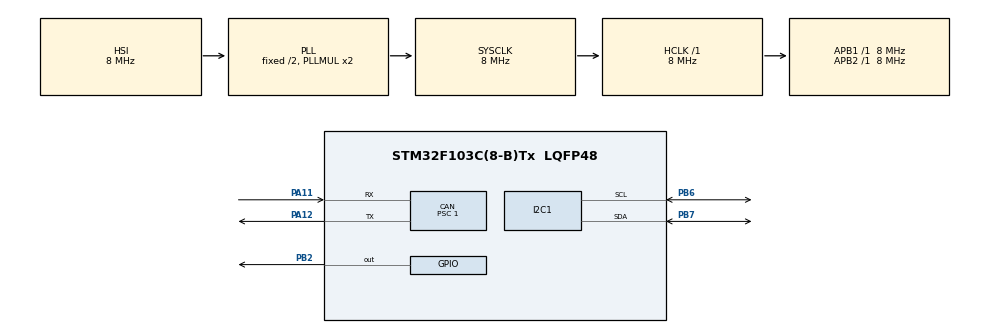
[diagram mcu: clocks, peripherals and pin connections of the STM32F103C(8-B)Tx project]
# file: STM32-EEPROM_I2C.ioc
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CAN.BS1=CAN_BS1_13TQ
CAN.BS2=CAN_BS2_2TQ
CAN.CalculateBaudRate=500000
CAN.CalculateTimeBit=2000
CAN.CalculateTimeQuantum=125.0
CAN.NART=ENABLE
CAN.Prescaler=1
CAN.SJW=CAN_SJW_1TQ
I2C1.AddressingMode=I2C_ADDRESSINGMODE_7BIT
Mcu.Family=STM32F1
Mcu.Name=STM32F103C(8-B)Tx
Mcu.Package=LQFP48
NVIC.PriorityGroup=NVIC_PRIORITYGROUP_4
NVIC.USB_LP_CAN1_RX0_IRQn=true\:0\:0\:false\:false\:true\:true\:true\:true
PA11.Mode=CAN_Activate
PA11.Signal=CAN_RX
PA12.Mode=CAN_Activate
PA12.Signal=CAN_TX
PA13.Mode=Serial_Wire
PA13.Signal=SYS_JTMS-SWDIO
PA14.Mode=Serial_Wire
PA14.Signal=SYS_JTCK-SWCLK
PB2.Signal=GPIO_Output
PB6.Mode=I2C
PB6.Signal=I2C1_SCL
PB7.Mode=I2C
PB7.Signal=I2C1_SDA
PD0-OSC_IN.Mode=HSE-External-Oscillator
PD0-OSC_IN.Signal=RCC_OSC_IN
PD1-OSC_OUT.Mode=HSE-External-Oscillator
PD1-OSC_OUT.Signal=RCC_OSC_OUT
ProjectManager.HeapSize=0x200
ProjectManager.StackSize=0x400
ProjectManager.TargetToolchain=STM32CubeIDE
RCC.AHBFreq_Value=8000000
RCC.APB1Freq_Value=8000000
RCC.APB1TimFreq_Value=8000000
RCC.APB2Freq_Value=8000000
RCC.APB2TimFreq_Value=8000000
RCC.HCLKFreq_Value=8000000
RCC.HSE_VALUE=16000000
RCC.SYSCLKFreq_VALUE=8000000
RCC.SYSCLKSource=RCC_SYSCLKSOURCE_PLLCLK
RCC.USBFreq_Value=8000000
board=custom

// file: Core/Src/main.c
/* USER CODE BEGIN Header */
/**
 ******************************************************************************
 * @file           : main.c
 * @brief          : Main program body
 ******************************************************************************
 * @attention
 *
 * Copyright (c) 2024 STMicroelectronics.
 * All rights reserved.
 *
 * This software is licensed under terms that can be found in the LICENSE file
 * in the root directory of this software component.
 * If no LICENSE file comes with this software, it is provided AS-IS.
 *
 ******************************************************************************
 */
/* USER CODE END Header */
#include "main.h"

/* USER CODE BEGIN Includes */
#include <string.h>
#include <stdlib.h>

/* USER CODE END Includes */

/* USER CODE BEGIN PTD */

typedef enum {
	RAD_TYPE_DRIVETRAIN,
	RAD_TYPE_ARM_BASE,
	RAD_TYPE_ARM_ELBOW,
	RAD_TYPE_ARM_WRIST,
	RAD_TYPE_ARM_GRIPPER,
} RAD_TYPE;

typedef struct __attribute__((packed)){
	uint8_t RAD_ID;
	RAD_TYPE RAD_TYPE;
	uint8_t HOME_POSITION;
	float P;
	float I;
	float D;
	uint32_t DRVCTRl;
	uint32_t CHOPCONF;
	uint32_t SMARTEN;
	uint32_t SGSCONF;
	uint32_t DRVCONF;
	uint16_t STEPPER_SPEED;
	uint16_t ODOM_INTERVAL;
} EEPROM_STRUCT;

/* USER CODE END PTD */

/* USER CODE BEGIN PD */

#define EEPROM_PAGE_TOTAL 32
#define EEPROM_PAGE_SIZE 16
#define DEVICE_IDENTIFIER 0b10100000
#define A2_PIN 0
#define A1_PIN 0

/* USER CODE END PD */

CAN_HandleTypeDef hcan;

I2C_HandleTypeDef hi2c1;

/* USER CODE BEGIN PV */
// CAN Tx
CAN_TxHeaderTypeDef TxHeader;
uint8_t TxData[8];
uint32_t TxMailbox;

// CAN Rx
CAN_FilterTypeDef canfilterconfig;
CAN_RxHeaderTypeDef RxHeader;
uint8_t RxData[8];

/* USER CODE END PV */

void SystemClock_Config(void);
static void MX_GPIO_Init(void);
static void MX_CAN_Init(void);
static void MX_I2C1_Init(void);

/* USER CODE BEGIN PFP */

static void READ_EEPROM(uint8_t* pData, uint32_t size, uint8_t eeprom_page_num);
static void WRITE_EEPROM(uint8_t* pData, uint32_t size, uint8_t eeprom_page_num);

/* USER CODE END PFP */

/* USER CODE BEGIN 0 */

void setupTxCAN()
{
    TxHeader.StdId = 0x321;
    TxHeader.ExtId = 0x01;
    TxHeader.RTR = CAN_RTR_DATA;
    TxHeader.IDE = CAN_ID_EXT;
    TxHeader.DLC = 8;
    TxHeader.TransmitGlobalTime = DISABLE;

    TxData[0] = 0xA0;
    TxData[1] = 0xA1;
    TxData[2] = 0xA2;
    TxData[3] = 0xA3;
    TxData[4] = 0xA4;
    TxData[5] = 0xA5;
    TxData[6] = 0xA6;
    TxData[7] = 0xA7;
}

void setupRxCAN()
{
    canfilterconfig.FilterBank = 0;
    canfilterconfig.FilterMode = CAN_FILTERMODE_IDMASK;
    canfilterconfig.FilterScale = CAN_FILTERSCALE_32BIT;
    canfilterconfig.FilterIdHigh = 0x0000;
    canfilterconfig.FilterIdLow = 0x0000;
    canfilterconfig.FilterMaskIdHigh = 0x0000;
    canfilterconfig.FilterMaskIdLow = 0x0000;
    canfilterconfig.FilterFIFOAssignment = CAN_RX_FIFO0;
    canfilterconfig.FilterActivation = ENABLE;
    canfilterconfig.SlaveStartFilterBank = 14;

    HAL_CAN_ConfigFilter(&hcan, &canfilterconfig);
    HAL_CAN_ActivateNotification(&hcan, CAN_IT_RX_FIFO0_MSG_PENDING); //enable interrupts
}

void txCAN()
{
    TxHeader.DLC = 8;
    HAL_StatusTypeDef can_result = HAL_CAN_AddTxMessage(&hcan, &TxHeader,
            TxData, &TxMailbox);
    if (can_result != HAL_OK)
    {
        Error_Handler();
    }
}

/**
 * @brief  Rx Fifo 0 message pending callback in non blocking mode
 * @param  CanHandle: pointer to a CAN_HandleTypeDef structure that contains
 *         the configuration information for the specified CAN.
 * @retval None
 */
void HAL_CAN_RxFifo0MsgPendingCallback(CAN_HandleTypeDef *CanHandle)
{
    uint8_t echo_data[8];
    /* Get RX message */
    if (HAL_CAN_GetRxMessage(CanHandle, CAN_RX_FIFO0, &RxHeader, RxData)
            != HAL_OK)
    {
        /* Reception Error */
        Error_Handler();
    }

    HAL_GPIO_TogglePin(GPIOB, GPIO_PIN_2);
    // Echo received CAN message
    HAL_CAN_AddTxMessage(&hcan, &TxHeader, echo_data, &TxMailbox);

}

// Write EEPROM Function ------------------------------

static void WRITE_EEPROM(uint8_t* pData, uint32_t size, uint8_t eeprom_page_num) {
	uint16_t eeprom_address = eeprom_page_num * EEPROM_PAGE_TOTAL;
	uint16_t pageCounter = 0;
	uint16_t address;
	uint16_t currentSize;

	uint8_t* data = (uint8_t*) malloc(EEPROM_PAGE_SIZE);

	do {
		// Setting the EEPROM address based on what page we are on
		address = eeprom_address + pageCounter * EEPROM_PAGE_SIZE;

		// Setting the first index of the data array to the EEPROM address
		data[0] = address;

		// Finding the i2c address (from validation code)
		uint8_t i2c_address = DEVICE_IDENTIFIER | (A2_PIN << 3) | (A1_PIN << 2)
			| (address >> 8) << 1 | 0;

		// Checking if the page counter is equivalent to the size passed in, divided by the EEPROM page size
		// This is integer division
		// If we are passed the last whole multiple of EEPROM Page Size, this will evaluate to true
		if (pageCounter == (size / EEPROM_PAGE_SIZE)) {
			// Calculate the number of items left to pass in, and set that to the current size
			currentSize = (size + pageCounter + 1) - pageCounter * EEPROM_PAGE_SIZE;
		} else {
			// If we are not passed the last whole multiple of EEPROM page size, set the data size to EEPROM page size
			currentSize = EEPROM_PAGE_SIZE;
		}

		// Copy elements from pData to data for use
		memcpy((void *) &data[1], (void *) &pData[pageCounter * (EEPROM_PAGE_SIZE - 1)], currentSize - 1);

		// Write data to EEPROM
		while (HAL_I2C_Master_Transmit(&hi2c1, (uint16_t) i2c_address,
				&data[0], currentSize, 10000) != HAL_OK)
		{
			/* Error_Handler() function is called when Timeout error occurs.
			 When Acknowledge failure occurs (Slave don't acknowledge its address)
			 Master restarts communication */
			if (HAL_I2C_GetError(&hi2c1) != HAL_I2C_ERROR_AF)
			{
				Error_Handler();
			}
		}

		// Incrementing the page counter
		pageCounter++;

	} while (pageCounter <= (size / EEPROM_PAGE_SIZE));
	// Deallocating memory needed
	free((void*) data);

}

static void READ_EEPROM(uint8_t* pData, uint32_t size, uint8_t eeprom_page_num) {
	uint16_t eeprom_address = eeprom_page_num * EEPROM_PAGE_TOTAL;
	uint16_t pageCounter = 0;
	uint16_t address;
	uint16_t currentSize;

	uint8_t* data = (uint8_t*) malloc(EEPROM_PAGE_SIZE - 1);

	do {
		// Setting the EEPROM address based on what page we are on
		address = eeprom_address + pageCounter * EEPROM_PAGE_SIZE;

		// Finding the i2c address (from validation code)
		uint8_t i2c_address = DEVICE_IDENTIFIER | (A2_PIN << 3) | (A1_PIN << 2)
			| (address >> 8) << 1 | 0;

		// Checking if the page counter is equivalent to the size passed in, divided by the EEPROM page size
		// This is integer division
		// If we are passed the last whole multiple of EEPROM Page Size, this will evaluate to true
		if (pageCounter == (size / EEPROM_PAGE_SIZE)) {
			// Calculate the number of items left to pass in, and set that to the current size
			currentSize = size - (pageCounter * (EEPROM_PAGE_SIZE - 1));
		} else {
			// If we are not passed the last whole multiple of EEPROM page size, set the data size to EEPROM page size
			currentSize = EEPROM_PAGE_SIZE - 1;
		}

		// READING FROM EEPROM
		while (HAL_I2C_Mem_Read(&hi2c1, (uint16_t) i2c_address,
				(uint16_t) address, I2C_MEMADD_SIZE_8BIT, &data[0],
				(uint16_t) currentSize, 10000) != HAL_OK)
		{
			/* Error_Handler() function is called when Timeout error occurs.
			 When Acknowledge failure occurs (Slave don't acknowledge its address)
			 Master restarts communication */
			if (HAL_I2C_GetError(&hi2c1) != HAL_I2C_ERROR_AF)
			{
				Error_Handler();
			}
		}

		memcpy((void *) &pData[pageCounter * (EEPROM_PAGE_SIZE - 1)], (void *) &data[0], currentSize);

		// Incrementing the page counter
		pageCounter++;

	} while (pageCounter <= (size / EEPROM_PAGE_SIZE));

	free((void*) data);
};

/* USER CODE END 0 */

int main(void)
{

    /* MCU Configuration--------------------------------------------------------*/

    /* Reset of all peripherals, Initializes the Flash interface and the Systick. */
    HAL_Init();

    /* Configure the system clock */
    SystemClock_Config();

    /* Initialize all configured peripherals */
    MX_GPIO_Init();
    MX_CAN_Init();
    MX_I2C1_Init();
    /* USER CODE BEGIN 2 */
    setupTxCAN();
    setupRxCAN();
    /* USER CODE END 2 */

    /* Infinite loop */
    /* USER CODE BEGIN WHILE */
    while (1)
    {
        txCAN();
//        HAL_GPIO_TogglePin(GPIOB, GPIO_PIN_2);

        uint16_t eeprom_page = 0; // page aligned address in eeprom to write to (max 32 pages)
        EEPROM_STRUCT eeprom_data = {
        		90,
				RAD_TYPE_ARM_GRIPPER,
				180,
				0.812347,
				0.322345,
				0.523405,
				0,
				1,
				2,
				3,
				4,
				5,
				6
        };

        uint32_t eeprom_data_size = sizeof(eeprom_data) / sizeof(uint8_t);

        // write will definitely span multiple pages!
        WRITE_EEPROM((uint8_t*) &eeprom_data, eeprom_data_size, eeprom_page);

        HAL_Delay(25);

        eeprom_page = 0; // page in eeprom to read from

        uint8_t* eeprom_data_buff = (uint8_t*) malloc(eeprom_data_size);

        READ_EEPROM(eeprom_data_buff, eeprom_data_size, eeprom_page);

        EEPROM_STRUCT* eeprom_data_reconstructed = (EEPROM_STRUCT*) &eeprom_data_buff[0];

        /*
        uint8_t can_data[1];
        can_data[0] = i2c_data_buff;
        TxHeader.DLC = 1;
        HAL_CAN_AddTxMessage(&hcan, &TxHeader, can_data, &TxMailbox);
        */

        HAL_Delay(500);
        /* USER CODE END WHILE */

    }
}

void SystemClock_Config(void)
{
    RCC_OscInitTypeDef RCC_OscInitStruct =
    { 0 };
    RCC_ClkInitTypeDef RCC_ClkInitStruct =
    { 0 };

    /** Initializes the RCC Oscillators according to the specified parameters
     * in the RCC_OscInitTypeDef structure.
     */
    RCC_OscInitStruct.OscillatorType = RCC_OSCILLATORTYPE_HSI;
    RCC_OscInitStruct.HSIState = RCC_HSI_ON;
    RCC_OscInitStruct.HSICalibrationValue = RCC_HSICALIBRATION_DEFAULT;
    RCC_OscInitStruct.PLL.PLLState = RCC_PLL_ON;
    RCC_OscInitStruct.PLL.PLLSource = RCC_PLLSOURCE_HSI_DIV2;
    RCC_OscInitStruct.PLL.PLLMUL = RCC_PLL_MUL2;
    if (HAL_RCC_OscConfig(&RCC_OscInitStruct) != HAL_OK)
    {
        Error_Handler();
    }

    /** Initializes the CPU, AHB and APB buses clocks
     */
    RCC_ClkInitStruct.ClockType = RCC_CLOCKTYPE_HCLK | RCC_CLOCKTYPE_SYSCLK
            | RCC_CLOCKTYPE_PCLK1 | RCC_CLOCKTYPE_PCLK2;
    RCC_ClkInitStruct.SYSCLKSource = RCC_SYSCLKSOURCE_PLLCLK;
    RCC_ClkInitStruct.AHBCLKDivider = RCC_SYSCLK_DIV1;
    RCC_ClkInitStruct.APB1CLKDivider = RCC_HCLK_DIV1;
    RCC_ClkInitStruct.APB2CLKDivider = RCC_HCLK_DIV1;

    if (HAL_RCC_ClockConfig(&RCC_ClkInitStruct, FLASH_LATENCY_0) != HAL_OK)
    {
        Error_Handler();
    }
}

static void MX_CAN_Init(void)
{

    hcan.Instance = CAN1;
    hcan.Init.Prescaler = 1;
    hcan.Init.Mode = CAN_MODE_NORMAL;
    hcan.Init.SyncJumpWidth = CAN_SJW_1TQ;
    hcan.Init.TimeSeg1 = CAN_BS1_13TQ;
    hcan.Init.TimeSeg2 = CAN_BS2_2TQ;
    hcan.Init.TimeTriggeredMode = DISABLE;
    hcan.Init.AutoBusOff = DISABLE;
    hcan.Init.AutoWakeUp = DISABLE;
    hcan.Init.AutoRetransmission = ENABLE;
    hcan.Init.ReceiveFifoLocked = DISABLE;
    hcan.Init.TransmitFifoPriority = DISABLE;
    if (HAL_CAN_Init(&hcan) != HAL_OK)
    {
        Error_Handler();
    }
    /* USER CODE BEGIN CAN_Init 2 */

    if (HAL_CAN_Start(&hcan) != HAL_OK)
    {
        /* Start Error */
        Error_Handler();
    }

    /* USER CODE END CAN_Init 2 */

}

static void MX_I2C1_Init(void)
{

    hi2c1.Instance = I2C1;
    hi2c1.Init.ClockSpeed = 100000;
    hi2c1.Init.DutyCycle = I2C_DUTYCYCLE_2;
    hi2c1.Init.OwnAddress1 = 0;
    hi2c1.Init.AddressingMode = I2C_ADDRESSINGMODE_7BIT;
    hi2c1.Init.DualAddressMode = I2C_DUALADDRESS_DISABLE;
    hi2c1.Init.OwnAddress2 = 0;
    hi2c1.Init.GeneralCallMode = I2C_GENERALCALL_DISABLE;
    hi2c1.Init.NoStretchMode = I2C_NOSTRETCH_DISABLE;
    if (HAL_I2C_Init(&hi2c1) != HAL_OK)
    {
        Error_Handler();
    }

}

static void MX_GPIO_Init(void)
{
    GPIO_InitTypeDef GPIO_InitStruct =
    { 0 };

    /* GPIO Ports Clock Enable */
    __HAL_RCC_GPIOD_CLK_ENABLE();
    __HAL_RCC_GPIOB_CLK_ENABLE();
    __HAL_RCC_GPIOA_CLK_ENABLE();

    /*Configure GPIO pin Output Level */
    HAL_GPIO_WritePin(GPIOB, GPIO_PIN_2, GPIO_PIN_RESET);

    /*Configure GPIO pin : PB2 */
    GPIO_InitStruct.Pin = GPIO_PIN_2;
    GPIO_InitStruct.Mode = GPIO_MODE_OUTPUT_PP;
    GPIO_InitStruct.Pull = GPIO_NOPULL;
    GPIO_InitStruct.Speed = GPIO_SPEED_FREQ_LOW;
    HAL_GPIO_Init(GPIOB, &GPIO_InitStruct);

}

void Error_Handler(void)
{
    __disable_irq();
    while (1)
    {
    }
}
